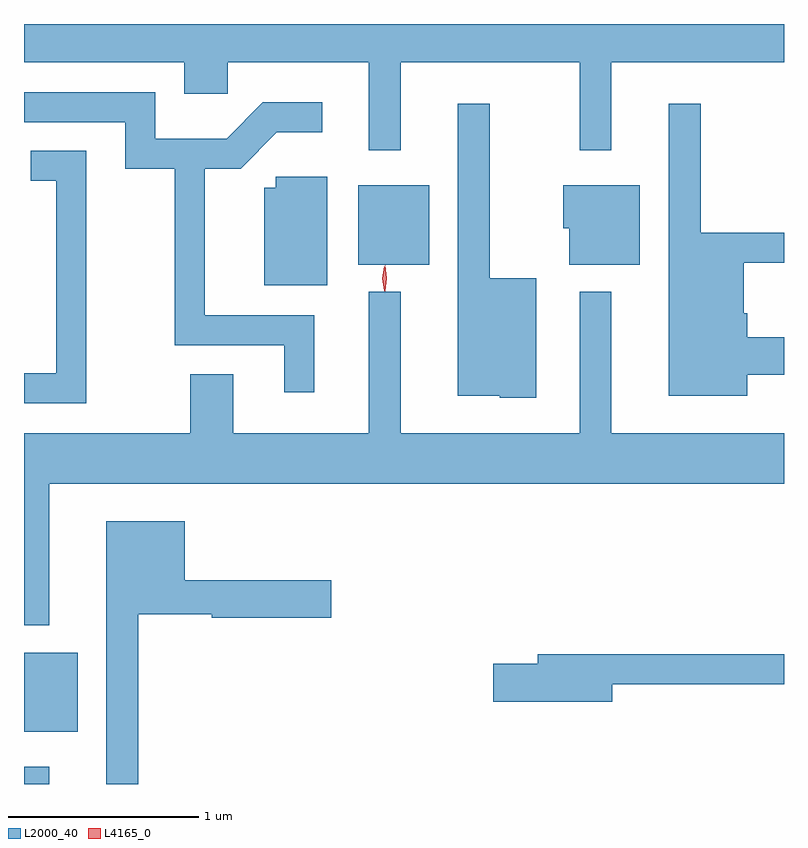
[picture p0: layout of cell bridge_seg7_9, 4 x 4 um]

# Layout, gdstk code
import gdstk
lib = gdstk.Library(unit=1e-6, precision=1e-09)
def R(c, l, rs):  # rectangles x0, y0, x1, y1
    for r in rs: c.add(gdstk.rectangle(r[:2], r[2:], *l))
def P(c, l, *ps):  # polygons
    for p in ps: c.add(gdstk.Polygon(p, *l))
L2000_40 = (2000, 40)
L4165_0 = (4165, 0)

bridge_seg7_9 = lib.new_cell('bridge_seg7_9')
R(bridge_seg7_9, L2000_40, [(1688.357,1734.937,1688.489,1735.028), (1688.357,1735.211,1688.639,1735.629), (1690.116,1737.671,1690.489,1738.089)])
P(bridge_seg7_9, L2000_40, [(1690.339,1738.736),(1691.281,1738.736),(1691.281,1738.273),(1691.449,1738.273),(1691.449,1738.736),(1692.357,1738.736),(1692.357,1738.937),(1688.357,1738.937),(1688.357,1738.736),(1689.201,1738.736),(1689.201,1738.571),(1689.429,1738.571),(1689.429,1738.736),(1690.171,1738.736),(1690.171,1738.273),(1690.339,1738.273)],
  [(1689.884,1737.404),(1689.309,1737.404),(1689.309,1738.176),(1689.497,1738.176),(1689.687,1738.366),(1689.928,1738.366),(1689.928,1738.524),(1689.614,1738.524),(1689.424,1738.334),(1689.049,1738.334),(1689.049,1738.579),(1688.357,1738.579),(1688.357,1738.421),(1688.891,1738.421),(1688.891,1738.176),(1689.151,1738.176),(1689.151,1737.246),(1689.726,1737.246),(1689.726,1736.998),(1689.884,1736.998)],
  [(1691.054,1737.599),(1690.809,1737.599),(1690.809,1738.518),(1690.641,1738.518),(1690.641,1736.981),(1690.86,1736.981),(1690.86,1736.971),(1691.054,1736.971)],
  [(1692.164,1737.091),(1692.357,1737.091),(1692.357,1737.289),(1692.164,1737.289),(1692.164,1737.414),(1692.144,1737.414),(1692.144,1737.681),(1692.357,1737.681),(1692.357,1737.839),(1691.919,1737.839),(1691.919,1738.518),(1691.751,1738.518),(1691.751,1736.981),(1692.164,1736.981)],
  [(1688.684,1738.269),(1688.393,1738.269),(1688.393,1738.111),(1688.526,1738.111),(1688.526,1737.099),(1688.357,1737.099),(1688.357,1736.941),(1688.684,1736.941)],
  [(1689.954,1738.134),(1689.681,1738.134),(1689.681,1738.074),(1689.621,1738.074),(1689.621,1737.561),(1689.954,1737.561)],
  [(1691.599,1738.089),(1691.196,1738.089),(1691.196,1737.861),(1691.226,1737.861),(1691.226,1737.671),(1691.599,1737.671)],
  [(1688.489,1736.516),(1692.357,1736.516),(1692.357,1736.784),(1691.449,1736.784),(1691.449,1737.528),(1691.281,1737.528),(1691.281,1736.784),(1690.339,1736.784),(1690.339,1737.528),(1690.171,1737.528),(1690.171,1736.784),(1689.459,1736.784),(1689.459,1737.094),(1689.231,1737.094),(1689.231,1736.784),(1688.357,1736.784),(1688.357,1735.773),(1688.489,1735.773)],
  [(1688.959,1735.831),(1689.346,1735.831),(1689.346,1735.811),(1689.974,1735.811),(1689.974,1736.009),(1689.204,1736.009),(1689.204,1736.319),(1688.791,1736.319),(1688.791,1734.937),(1688.959,1734.937)],
  [(1691.454,1735.461),(1692.357,1735.461),(1692.357,1735.619),(1691.061,1735.619),(1691.061,1735.569),(1690.826,1735.569),(1690.826,1735.371),(1691.454,1735.371)])
P(bridge_seg7_9, L4165_0, [(1690.256,1737.53),(1690.256,1737.53),(1690.248,1737.598),(1690.258,1737.666),(1690.259,1737.666),(1690.259,1737.666),(1690.267,1737.598),(1690.257,1737.53)],
  [(1690.253,1737.533),(1690.253,1737.533),(1690.243,1737.598),(1690.253,1737.661),(1690.253,1737.662),(1690.254,1737.661),(1690.263,1737.598),(1690.254,1737.533)])

lib.write_gds('bridge_seg7_9.gds')
